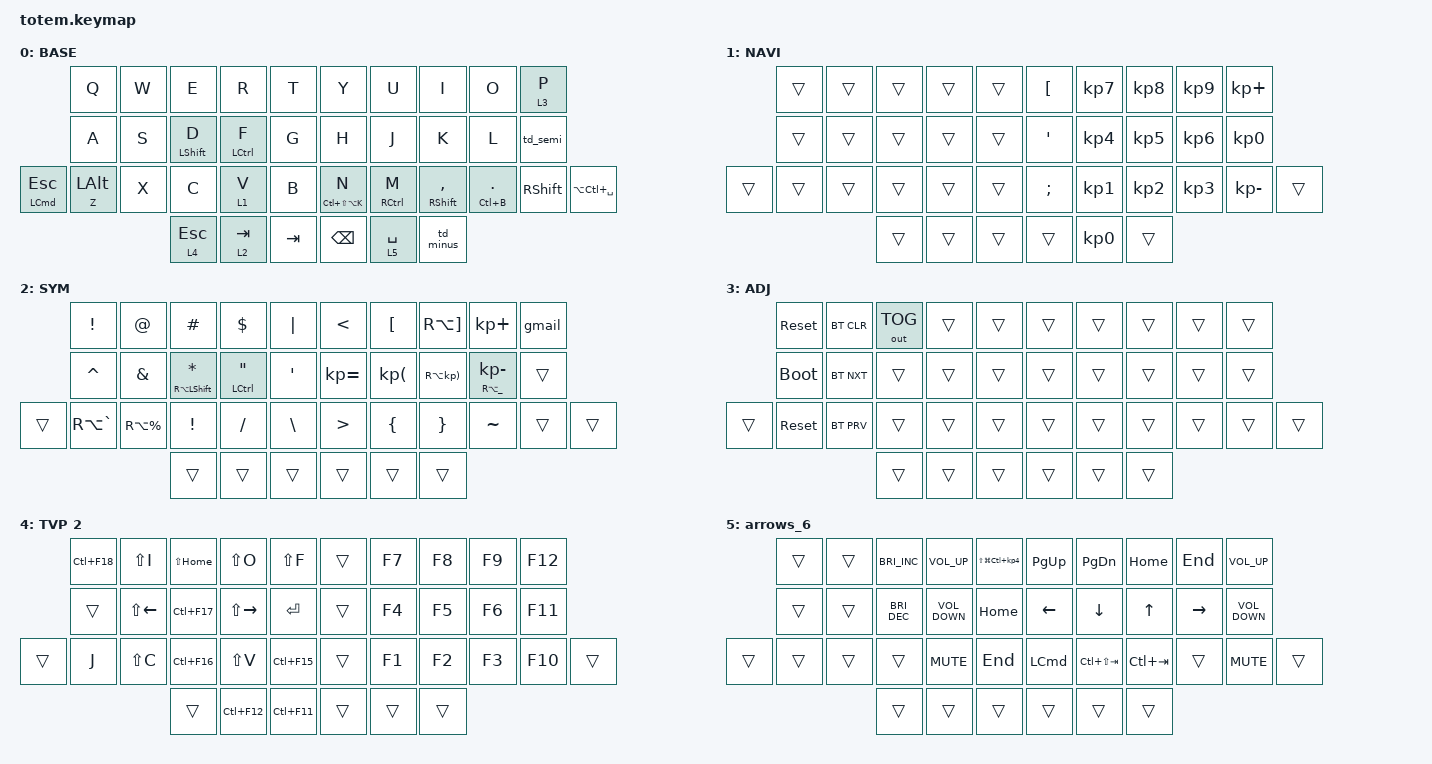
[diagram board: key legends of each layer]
//
//                                                        ▀▀▀▀▀     ▀▀▀▀▀          ▀▀█▀▀
//                                                        ▄▀▀▀▄  ▄  ▄▀▀▀▄  ▄  ▄▀▀▀▄  █  ▄▀▀▀▄
//                                                        █   █  █  █   █  █  █   █  █  █   █
//                                                         ▀▀▀   █   ▀▀▀   █   ▀▀▀   ▀   ▀▀▀
//                                                               █      ▄▄▄█▄▄▄    █   █  
//                                                               ▀      █  █  █     █▄█
//                                                             ▀▀▀▀▀    █  █  █      ▀
//                                                                      ▀  ▀  ▀
//
// ▄▄▄▄▄▄▄▄▄▄▄▄▄▄▄▄▄▄▄▄▄▄▄▄▄▄▄▄▄▄▄▄▄▄▄▄▄▄▄▄▄▄▄▄▄▄▄▄▄▄▄▄▄▄▄▄▄▄▄▄▄▄▄▄▄▄▄▄▄▄▄▄▄▄▄▄▄▄▄▄▄▄▄▄▄▄▄▄▄▄▄▄▄▄▄▄▄▄▄▄▄▄▄▄▄▄▄▄▄▄▄▄▄▄▄▄▄▄▄▄▄▄▄▄▄▄▄▄▄▄▄▄▄▄▄▄▄▄▄▄▄▄▄▄▄▄▄▄▄

#include <behaviors.dtsi>
#include <dt-bindings/zmk/bt.h>
#include <dt-bindings/zmk/keys.h>
#include <dt-bindings/zmk/outputs.h>

#define BASE 0
#define NAV  1
#define SYM  2
#define ADJ  3
#define TVP1 4
#define TVP2 5

&mt {
    quick-tap-ms = <100>;
    global-quick-tap;
    flavor = "tap-preferred";
    tapping-term-ms = <170>;
};

/ {
    combos {
        compatible = "zmk,combos";

        esc {
            timeout-ms = <50>;
            key-positions = <12 13>;
            bindings = <&kp ESC>;
            layers = <0>;
        };

        question {
            bindings = <&kp QUESTION>;
            key-positions = <6 7>;
            timeout-ms = <50>;
            layers = <0>;
        };

        left_cmd {
            bindings = <&kp LEFT_COMMAND>;
            key-positions = <2 3>;
        };
    };

    macros {
        gmail: gmail {
            compatible = "zmk,behavior-macro";
            #binding-cells = <0>;
            bindings = <&none &kp T &kp O &kp M &kp A &kp S &kp DOT &kp B &kp O &kp R &kp E &kp M &kp A &kp L &kp M &kp AT &kp G &kp M &kp A &kp I &kp L &kp DOT &kp C &kp O &kp M>;
            label = "GMAIL";
        };
    };

    behaviors {
        td_semi: td_semi {
            compatible = "zmk,behavior-tap-dance";
            label = "TD_SEMI";
            #binding-cells = <0>;
            bindings = <&kp SEMI>, <&kp COLON>;
        };

        td_minus: td_minus {
            compatible = "zmk,behavior-tap-dance";
            label = "TD_MINUS";
            #binding-cells = <0>;
            bindings = <&kp MINUS>, <&kp PLUS>;
        };
    };

    keymap {
        compatible = "zmk,keymap";

        // ▄▄▄▄▄▄▄▄▄▄▄▄▄▄▄▄▄▄▄▄▄▄▄▄▄▄▄▄▄▄▄▄▄▄▄▄▄▄▄▄▄▄▄▄▄▄▄▄▄▄▄▄▄▄▄▄▄▄▄▄▄▄▄▄▄▄▄▄▄▄▄▄▄▄▄▄▄▄▄▄▄▄▄▄▄▄▄▄▄▄▄▄▄▄▄▄▄▄▄▄▄▄▄▄▄▄▄▄▄▄▄▄▄▄▄▄▄▄▄▄▄▄▄▄▄▄▄▄▄▄▄▄▄▄▄▄▄▄▄▄▄▄▄▄▄▄▄▄▄

        base_layer {
            // ┏━━━━━━━━━━━━━━━━━━━━━━━━━━━━━━━━━━━━━━━┓

            label = "BASE";

            // ┗━━━━━━━━━━━━━━━━━━━━━━━━━━━━━━━━━━━━━━━┛
            //             ┏━━━━━━━━━━━┳━━━━━━━━━━━┳━━━━━━━━━━━┳━━━━━━━━━━━┳━━━━━━━━━━━┓   ┏━━━━━━━━━━━┳━━━━━━━━━━━┳━━━━━━━━━━━┳━━━━━━━━━━━┳━━━━━━━━━━━┓
            //             ┃     Q     ┃     W     ┃     F     ┃     P     ┃     G     ┃   ┃     J     ┃     L     ┃     U     ┃     Y     ┃     ;     ┃
            //             ┣━━━━━━━━━━━╋━━━━━━━━━━━╋━━━━━━━━━━━╋━━━━━━━━━━━╋━━━━━━━━━━━┫   ┣━━━━━━━━━━━╋━━━━━━━━━━━╋━━━━━━━━━━━╋━━━━━━━━━━━╋━━━━━━━━━━━┫
            //             ┃     A     ┃     R     ┃     S     ┃     T     ┃     D     ┃   ┃     H     ┃     N     ┃     E     ┃     I     ┃     O     ┃
            // ┏━━━━━━━━━━━╋━━━━━━━━━━━╋━━━━━━━━━━━╋━━━━━━━━━━━╋━━━━━━━━━━━╋━━━━━━━━━━━┫   ┣━━━━━━━━━━━╋━━━━━━━━━━━╋━━━━━━━━━━━╋━━━━━━━━━━━╋━━━━━━━━━━━╋━━━━━━━━━━━┓
            // ┃     Q     ┃     Z     ┃     X     ┃     C     ┃     V     ┃     B     ┃   ┃     K     ┃     M     ┃     ,     ┃     .     ┃     /     ┃     \     ┃
            // ┗━━━━━━━━━━━┻━━━━━━━━━━━┻━━━━━━━━━━━╋━━━━━━━━━━━╋━━━━━━━━━━━╋━━━━━━━━━━━┫   ┣━━━━━━━━━━━╋━━━━━━━━━━━╋━━━━━━━━━━━╋━━━━━━━━━━━┻━━━━━━━━━━━┻━━━━━━━━━━━┛
            //                                     ┃    DEL    ┃    TAB    ┃    SPC    ┃   ┃   ENTER   ┃           ┃   BSPC    ┃
            //                                     ┗━━━━━━━━━━━┻━━━━━━━━━━━┻━━━━━━━━━━━┛   ┗━━━━━━━━━━━┻━━━━━━━━━━━┻━━━━━━━━━━━┛

            bindings = <
                      &kp Q       &kp W  &kp E             &kp R               &kp T      &kp Y                &kp U                &kp I                  &kp O             &lt 3 P
                      &kp A       &kp S  &mt LEFT_SHIFT D  &mt LEFT_CONTROL F  &kp G      &kp H                &kp J                &kp K                  &kp L             &td_semi
&mt LEFT_COMMAND ESC  &mt Z LALT  &kp X  &kp C             &lt 1 V             &kp B      &mt LC(LS(LA(K))) N  &mt RIGHT_CONTROL M  &mt RIGHT_SHIFT COMMA  &mt LC(B) PERIOD  &kp RIGHT_SHIFT  &kp LA(LC(SPACE))
                                         &lt 4 ESC         &lt 2 TAB           &kp TAB    &kp BACKSPACE        &lt 5 SPACE          &td_minus
            >;
        };

        // ▄▄▄▄▄▄▄▄▄▄▄▄▄▄▄▄▄▄▄▄▄▄▄▄▄▄▄▄▄▄▄▄▄▄▄▄▄▄▄▄▄▄▄▄▄▄▄▄▄▄▄▄▄▄▄▄▄▄▄▄▄▄▄▄▄▄▄▄▄▄▄▄▄▄▄▄▄▄▄▄▄▄▄▄▄▄▄▄▄▄▄▄▄▄▄▄▄▄▄▄▄▄▄▄▄▄▄▄▄▄▄▄▄▄▄▄▄▄▄▄▄▄▄▄▄▄▄▄▄▄▄▄▄▄▄▄▄▄▄▄▄▄▄▄▄▄▄▄▄

        num_layer {
            // ┏━━━━━━━━━━━━━━━━━━━━━━━━━━━━━━━━━━━━━━━┓

            label = "NAVI";

            // ┗━━━━━━━━━━━━━━━━━━━━━━━━━━━━━━━━━━━━━━━┛
            //             ┏━━━━━━━━━━━┳━━━━━━━━━━━┳━━━━━━━━━━━┳━━━━━━━━━━━┳━━━━━━━━━━━┓   ┏━━━━━━━━━━━┳━━━━━━━━━━━┳━━━━━━━━━━━┳━━━━━━━━━━━┳━━━━━━━━━━━┓
            //             ┃           ┃           ┃     UP    ┃           ┃     {     ┃   ┃     }     ┃     7     ┃     8     ┃     9     ┃     +     ┃
            //             ┣━━━━━━━━━━━╋━━━━━━━━━━━╋━━━━━━━━━━━╋━━━━━━━━━━━╋━━━━━━━━━━━┫   ┣━━━━━━━━━━━╋━━━━━━━━━━━╋━━━━━━━━━━━╋━━━━━━━━━━━╋━━━━━━━━━━━┫
            //             ┃   SHIFT   ┃   LEFT    ┃    DOWN   ┃   RIGHT   ┃     [     ┃   ┃     ]     ┃     4     ┃     5     ┃     6     ┃     -     ┃
            // ┏━━━━━━━━━━━╋━━━━━━━━━━━╋━━━━━━━━━━━╋━━━━━━━━━━━╋━━━━━━━━━━━╋━━━━━━━━━━━┫   ┣━━━━━━━━━━━╋━━━━━━━━━━━╋━━━━━━━━━━━╋━━━━━━━━━━━╋━━━━━━━━━━━╋━━━━━━━━━━━┓
            // ┃           ┃           ┃   P UP    ┃  C LOCK   ┃  P DOWN   ┃     (     ┃   ┃     )     ┃     1     ┃     2     ┃     3     ┃     *     ┃           ┃
            // ┗━━━━━━━━━━━┻━━━━━━━━━━━┻━━━━━━━━━━━╋━━━━━━━━━━━╋━━━━━━━━━━━╋━━━━━━━━━━━┫   ┣━━━━━━━━━━━╋━━━━━━━━━━━╋━━━━━━━━━━━╋━━━━━━━━━━━┻━━━━━━━━━━━┻━━━━━━━━━━━┛
            //                                     ┃           ┃    TAB    ┃    SPC    ┃   ┃    DEL    ┃     0     ┃           ┃
            //                                     ┗━━━━━━━━━━━┻━━━━━━━━━━━┻━━━━━━━━━━━┛   ┗━━━━━━━━━━━┻━━━━━━━━━━━┻━━━━━━━━━━━┛

            bindings = <
        &trans  &trans  &trans  &trans  &trans    &kp LBKT  &kp KP_N7  &kp KP_N8  &kp KP_N9  &kp KP_PLUS
        &trans  &trans  &trans  &trans  &trans    &kp SQT   &kp KP_N4  &kp KP_N5  &kp KP_N6  &kp KP_N0
&trans  &trans  &trans  &trans  &trans  &trans    &kp SEMI  &kp KP_N1  &kp KP_N2  &kp KP_N3  &kp KP_MINUS  &trans
                        &trans  &trans  &trans    &trans    &kp KP_N0  &trans
            >;
        };

        // ▄▄▄▄▄▄▄▄▄▄▄▄▄▄▄▄▄▄▄▄▄▄▄▄▄▄▄▄▄▄▄▄▄▄▄▄▄▄▄▄▄▄▄▄▄▄▄▄▄▄▄▄▄▄▄▄▄▄▄▄▄▄▄▄▄▄▄▄▄▄▄▄▄▄▄▄▄▄▄▄▄▄▄▄▄▄▄▄▄▄▄▄▄▄▄▄▄▄▄▄▄▄▄▄▄▄▄▄▄▄▄▄▄▄▄▄▄▄▄▄▄▄▄▄▄▄▄▄▄▄▄▄▄▄▄▄▄▄▄▄▄▄▄▄▄▄▄▄▄

        sym_layer {
            // ┏━━━━━━━━━━━━━━━━━━━━━━━━━━━━━━━━━━━━━━━┓

            label = "SYM";

            // ┗━━━━━━━━━━━━━━━━━━━━━━━━━━━━━━━━━━━━━━━┛
            //             ┏━━━━━━━━━━━┳━━━━━━━━━━━┳━━━━━━━━━━━┳━━━━━━━━━━━┳━━━━━━━━━━━┓   ┏━━━━━━━━━━━┳━━━━━━━━━━━┳━━━━━━━━━━━┳━━━━━━━━━━━┳━━━━━━━━━━━┓
            //             ┃     !     ┃     @     ┃     #     ┃     $     ┃     %     ┃   ┃     ˆ     ┃     &     ┃     Ü     ┃     '     ┃     "     ┃
            //             ┣━━━━━━━━━━━╋━━━━━━━━━━━╋━━━━━━━━━━━╋━━━━━━━━━━━╋━━━━━━━━━━━┫   ┣━━━━━━━━━━━╋━━━━━━━━━━━╋━━━━━━━━━━━╋━━━━━━━━━━━╋━━━━━━━━━━━┫
            //             ┃     Ä     ┃           ┃    SZ     ┃           ┃           ┃   ┃   MUTE    ┃   YEN     ┃   EURO    ┃  POUND    ┃     Ö     ┃
            // ┏━━━━━━━━━━━╋━━━━━━━━━━━╋━━━━━━━━━━━╋━━━━━━━━━━━╋━━━━━━━━━━━╋━━━━━━━━━━━┫   ┣━━━━━━━━━━━╋━━━━━━━━━━━╋━━━━━━━━━━━╋━━━━━━━━━━━╋━━━━━━━━━━━╋━━━━━━━━━━━┓
            // ┃           ┃  EMAIL1   ┃  EMAIL2   ┃           ┃           ┃           ┃   ┃   VOL-    ┃   VOL+    ┃   LAST    ┃   NEXT    ┃     \     ┃           ┃
            // ┗━━━━━━━━━━━┻━━━━━━━━━━━┻━━━━━━━━━━━╋━━━━━━━━━━━╋━━━━━━━━━━━╋━━━━━━━━━━━┫   ┣━━━━━━━━━━━╋━━━━━━━━━━━╋━━━━━━━━━━━╋━━━━━━━━━━━┻━━━━━━━━━━━┻━━━━━━━━━━━┛
            //                                     ┃           ┃    GIF    ┃    ADJ    ┃   ┃           ┃           ┃           ┃
            //                                     ┗━━━━━━━━━━━┻━━━━━━━━━━━┻━━━━━━━━━━━┛   ┗━━━━━━━━━━━┻━━━━━━━━━━━┻━━━━━━━━━━━┛

            bindings = <
        &kp EXCL       &kp AT           &kp HASH                     &kp DLLR                 &kp PIPE            &kp LESS_THAN     &kp LEFT_BRACKET         &kp RA(RIGHT_BRACKET)         &kp KP_PLUS             &gmail
        &kp CARET      &kp AMPS         &mt RA(LEFT_SHIFT) ASTERISK  &mt LCTRL DOUBLE_QUOTES  &kp SINGLE_QUOTE    &kp KP_EQUAL      &kp KP_LEFT_PARENTHESIS  &kp RA(KP_RIGHT_PARENTHESIS)  &mt RA(UNDER) KP_MINUS  &trans
&trans  &kp RA(GRAVE)  &kp RA(PERCENT)  &kp EXCL                     &kp SLASH                &kp BACKSLASH       &kp GREATER_THAN  &kp LEFT_BRACE           &kp RIGHT_BRACE               &kp TILDE               &trans  &trans
                                        &trans                       &trans                   &trans              &trans            &trans                   &trans
            >;
        };

        // ▄▄▄▄▄▄▄▄▄▄▄▄▄▄▄▄▄▄▄▄▄▄▄▄▄▄▄▄▄▄▄▄▄▄▄▄▄▄▄▄▄▄▄▄▄▄▄▄▄▄▄▄▄▄▄▄▄▄▄▄▄▄▄▄▄▄▄▄▄▄▄▄▄▄▄▄▄▄▄▄▄▄▄▄▄▄▄▄▄▄▄▄▄▄▄▄▄▄▄▄▄▄▄▄▄▄▄▄▄▄▄▄▄▄▄▄▄▄▄▄▄▄▄▄▄▄▄▄▄▄▄▄▄▄▄▄▄▄▄▄▄▄▄▄▄▄▄▄▄

        adjust_layer {
            // ┏━━━━━━━━━━━━━━━━━━━━━━━━━━━━━━━━━━━━━━━┓

            label = "ADJ";

            // ┗━━━━━━━━━━━━━━━━━━━━━━━━━━━━━━━━━━━━━━━┛
            //             ┏━━━━━━━━━━━┳━━━━━━━━━━━┳━━━━━━━━━━━┳━━━━━━━━━━━┳━━━━━━━━━━━┓   ┏━━━━━━━━━━━┳━━━━━━━━━━━┳━━━━━━━━━━━┳━━━━━━━━━━━┳━━━━━━━━━━━┓
            //             ┃   RESET   ┃ BT CLEAR  ┃  OUT TOG  ┃           ┃           ┃   ┃           ┃    F7     ┃    F8     ┃    F9     ┃    F12    ┃
            //             ┣━━━━━━━━━━━╋━━━━━━━━━━━╋━━━━━━━━━━━╋━━━━━━━━━━━╋━━━━━━━━━━━┫   ┣━━━━━━━━━━━╋━━━━━━━━━━━╋━━━━━━━━━━━╋━━━━━━━━━━━╋━━━━━━━━━━━┫
            //             ┃ BOOTLOAD  ┃ BT NEXT   ┃           ┃           ┃           ┃   ┃           ┃    F4     ┃    F5     ┃    F6     ┃    F11    ┃
            // ┏━━━━━━━━━━━╋━━━━━━━━━━━╋━━━━━━━━━━━╋━━━━━━━━━━━╋━━━━━━━━━━━╋━━━━━━━━━━━┫   ┣━━━━━━━━━━━╋━━━━━━━━━━━╋━━━━━━━━━━━╋━━━━━━━━━━━╋━━━━━━━━━━━╋━━━━━━━━━━━┓
            // ┃           ┃           ┃ BT PREV   ┃           ┃           ┃           ┃   ┃           ┃    F1     ┃    F2     ┃    F3     ┃    F10    ┃           ┃
            // ┗━━━━━━━━━━━┻━━━━━━━━━━━┻━━━━━━━━━━━╋━━━━━━━━━━━╋━━━━━━━━━━━╋━━━━━━━━━━━┫   ┣━━━━━━━━━━━╋━━━━━━━━━━━╋━━━━━━━━━━━╋━━━━━━━━━━━┻━━━━━━━━━━━┻━━━━━━━━━━━┛
            //                                     ┃           ┃           ┃           ┃   ┃           ┃           ┃           ┃
            //                                     ┗━━━━━━━━━━━┻━━━━━━━━━━━┻━━━━━━━━━━━┛   ┗━━━━━━━━━━━┻━━━━━━━━━━━┻━━━━━━━━━━━┛

            bindings = <
        &sys_reset   &bt BT_CLR  &out OUT_TOG  &trans  &trans    &trans  &trans  &trans  &trans  &trans
        &bootloader  &bt BT_NXT  &trans        &trans  &trans    &trans  &trans  &trans  &trans  &trans
&trans  &sys_reset   &bt BT_PRV  &trans        &trans  &trans    &trans  &trans  &trans  &trans  &trans  &trans
                                 &trans        &trans  &trans    &trans  &trans  &trans
            >;
        };

        // ▄▄▄▄▄▄▄▄▄▄▄▄▄▄▄▄▄▄▄▄▄▄▄▄▄▄▄▄▄▄▄▄▄▄▄▄▄▄▄▄▄▄▄▄▄▄▄▄▄▄▄▄▄▄▄▄▄▄▄▄▄▄▄▄▄▄▄▄▄▄▄▄▄▄▄▄▄▄▄▄▄▄▄▄▄▄▄▄▄▄▄▄▄▄▄▄▄▄▄▄▄▄▄▄▄▄▄▄▄▄▄▄▄▄▄▄▄▄▄▄▄▄▄▄▄▄▄▄▄▄▄▄▄▄▄▄▄▄▄▄▄▄▄▄▄▄▄▄▄
        // ▄▄▄▄▄▄▄▄▄▄▄▄▄▄▄▄▄▄▄▄▄▄▄▄▄▄▄▄▄▄▄▄▄▄▄▄▄▄▄▄▄▄▄▄▄▄▄▄▄▄▄▄▄▄▄▄▄▄▄▄▄▄▄▄▄▄▄▄▄▄▄▄▄▄▄▄▄▄▄▄▄▄▄▄▄▄▄▄▄▄▄▄▄▄▄▄▄▄▄▄▄▄▄▄▄▄▄▄▄▄▄▄▄▄▄▄▄▄▄▄▄▄▄▄▄▄▄▄▄▄▄▄▄▄▄▄▄▄▄▄▄▄▄▄▄▄▄▄▄

        Fbtn_layer {
            // ┏━━━━━━━━━━━━━━━━━━━━━━━━━━━━━━━━━━━━━━━┓

            label = "TVP 2";

            // ┗━━━━━━━━━━━━━━━━━━━━━━━━━━━━━━━━━━━━━━━┛
            //             ┏━━━━━━━━━━━┳━━━━━━━━━━━┳━━━━━━━━━━━┳━━━━━━━━━━━┳━━━━━━━━━━━┓   ┏━━━━━━━━━━━┳━━━━━━━━━━━┳━━━━━━━━━━━┳━━━━━━━━━━━┳━━━━━━━━━━━┓
            //             ┃ SOLO      ┃ TOGGLE IN ┃ RESET ROT ┃ TOGGLE OUT┃ TAKE SNAP ┃   ┃           ┃           ┃           ┃           ┃           ┃
            //             ┣━━━━━━━━━━━╋━━━━━━━━━━━╋━━━━━━━━━━━╋━━━━━━━━━━━╋━━━━━━━━━━━┫   ┣━━━━━━━━━━━╋━━━━━━━━━━━╋━━━━━━━━━━━╋━━━━━━━━━━━╋━━━━━━━━━━━┫
            //             ┃ ---       ┃ LAST KEY  ┃ NEW KEY   ┃ NEXT KEY  ┃ ENTER     ┃   ┃           ┃           ┃           ┃           ┃           ┃
            // ┏━━━━━━━━━━━╋━━━━━━━━━━━╋━━━━━━━━━━━╋━━━━━━━━━━━╋━━━━━━━━━━━╋━━━━━━━━━━━┫   ┣━━━━━━━━━━━╋━━━━━━━━━━━╋━━━━━━━━━━━╋━━━━━━━━━━━╋━━━━━━━━━━━╋━━━━━━━━━━━┓
            // ┃           ┃ FULLSCR   ┃ CPY2BRUSH ┃ DEL HEAD  ┃ PSTinPLACE┃ BOOK MARK ┃   ┃           ┃           ┃           ┃           ┃           ┃           ┃
            // ┗━━━━━━━━━━━┻━━━━━━━━━━━┻━━━━━━━━━━━╋━━━━━━━━━━━╋━━━━━━━━━━━╋━━━━━━━━━━━┫   ┣━━━━━━━━━━━╋━━━━━━━━━━━╋━━━━━━━━━━━╋━━━━━━━━━━━┻━━━━━━━━━━━┻━━━━━━━━━━━┛
            //                                     ┃           ┃ REDO/SAV1 ┃TRANS/WARP ┃   ┃           ┃           ┃           ┃
            //                                     ┗━━━━━━━━━━━┻━━━━━━━━━━━┻━━━━━━━━━━━┛   ┗━━━━━━━━━━━┻━━━━━━━━━━━┻━━━━━━━━━━━┛

            bindings = <
        &kp LC(F18)  &kp LS(I)     &kp LS(HOME)  &kp LS(O)      &kp LS(F)      &trans  &kp F7  &kp F8  &kp F9  &kp F12
        &trans       &kp LS(LEFT)  &kp LC(F17)   &kp LS(RIGHT)  &kp RET        &trans  &kp F4  &kp F5  &kp F6  &kp F11
&trans  &kp J        &kp LS(C)     &kp LC(F16)   &kp LS(V)      &kp LC(F15)    &trans  &kp F1  &kp F2  &kp F3  &kp F10  &trans
                                   &trans        &kp LC(F12)    &kp LC(F11)    &trans  &trans  &trans
            >;
        };

        arrows_6 {
            bindings = <
        &trans  &trans  &kp C_BRIGHTNESS_INC  &kp C_VOLUME_UP    &kp LS(LG(LC(KP_N4)))    &kp PAGE_UP       &kp PAGE_DOWN    &kp HOME      &kp END    &kp K_VOLUME_UP
        &trans  &trans  &kp C_BRIGHTNESS_DEC  &kp C_VOLUME_DOWN  &kp HOME                 &kp LEFT_ARROW    &kp DOWN         &kp UP_ARROW  &kp RIGHT  &kp K_VOLUME_DOWN
&trans  &trans  &trans  &trans                &kp K_MUTE         &kp END                  &kp LEFT_COMMAND  &kp LC(LS(TAB))  &kp LC(TAB)   &trans     &kp K_MUTE         &trans
                        &trans                &trans             &trans                   &trans            &trans           &trans
            >;
        };
    };
};
